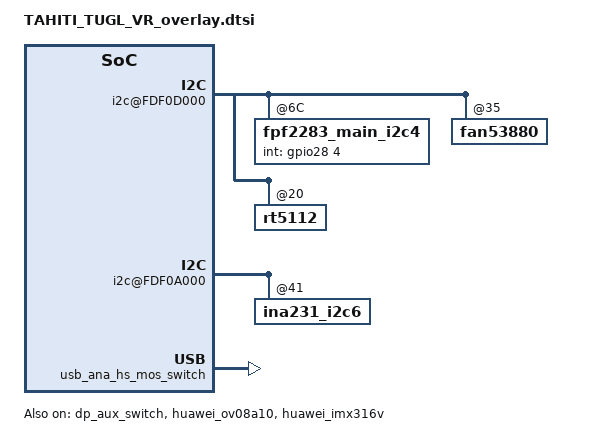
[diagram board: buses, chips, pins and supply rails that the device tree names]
/**
 * Copyright (C) 2014 Hisilicon Ltd.
 *
 *  This program is free software; you can redistribute it and/or modify
 *  it under the terms of the GNU General Public License version 2 as
 *  publishhed by the Free Software Foundation.
 */

/include/ "TAHITI_TUGL_VQ_overlay.dtsi"

/ {
    board_id = <8535>;
};
    &rootparam{
		compatible = "hisilicon,vendor";
		hisi,boardid = <8 5 3 5>;
		hisi,boardname = "TAHITI_TUGL_VR";
		hisi,modem_id = <0x37031800>;
		hisi,product_id = <0x37031800>;
		hisi,product_name = "TAH-AL00";
	};
	&amba {
		i2c@FDF0D000 {
			fpf2283_main_i2c4@6C {
				gpio_int = <&gpio28 4 0>;
			};
			fan53880@35 {
				hw,boost-pin = <224>;
			};
			rt5112@20 {
				hw,boost-pin = <224>;
			};
		};
		i2c@FDF0A000 {
			ina231_i2c6@41 {
				rshunt = <5>;
			};
		};
	};
        &gpio_pl061_ctrl_v2_1 {
                onewire-gpio = <&gpio1 1 0>;
                status = "ok";
        };
        &gpio_pl061_ctrl_v2_2 {
                onewire-gpio = <&gpio29 3 0>;
                status = "ok";
        };

	&usb_ana_hs_fsa4476 {
		status = "disabled";
	};

	&usb_ana_hs_mos_switch {
		compatible = "huawei,usb_ana_hs_mos_switch";
		gpio_type = <0>;
		switch_audio_auxpand = <&gpio4 0 0>;
		switch_mic_gnd = <&gpio17 1 0>;
		switch_auxpand = <&gpio26 0 0>;
		switch_fb = <&gpio1 3 0>;
		switch_usb_lr = <&gpio20 6 0>;
		mic_switch_delay = <150>;
		switch_lr_channel-supply = <&ldo14>;
		status = "ok";
	};

	&dp_aux_switch {
		compatible = "huawei,dp_aux_switch";
		aux_switch_from_fsa4476;
		aux_switch_with_uart;
		aux_uart-gpio = <&gpio5 2 0>;
		status = "ok";
	};

	&huawei_ov08a10 {
		dvdd-supply = <&ldo22>; /* ldo38 to ldo22 */
		iovdd-supply = <&ldo21>;
		huawei,ldo-names = "dvdd","iovdd";
		huawei,cam-power-seq-type = "sensor_pmic", "sensor_pmic", "sensor_pmic",
		"sensor_dvdd", "sensor_iovdd","sensor_rxdphy_clk", "sensor_mclk", "sensor_rst";
		huawei,cam-power-seq-cfg-val = <2850000 2800000 2750000 1200000 1800000 0 0 0>;
		huawei,cam-power-seq-val = <5 1 3 0xFF 0xFF 0xFF 0xFF 0xFF>;
		huawei,cam-power-seq-sensor-index = <0xFF 0xFF 0xFF 0xFF 0xFF 0xFF 2 0xFF>;
		huawei,cam-power-seq-delay = <0 0 0 0 0 1 1 1>;

		huawei,cam-power-down-seq-type ="sensor_rst", "sensor_mclk","sensor_rxdphy_clk",
		"sensor_iovdd", "sensor_dvdd", "sensor_pmic", "sensor_pmic",
		"sensor_pmic";
		huawei,cam-power-down-seq-cfg-val = <0 0 0 1800000 1200000 2750000 2800000 2850000>;
		huawei,cam-power-down-seq-val = <0xFF 0xFF 0xFF 0xFF 0xFF 3 1 5>;
		huawei,cam-power-down-seq-sensor-index = <0xFF 2 0xFF 0xFF 0xFF 0xFF 0xFF 0xFF>;
		huawei,cam-power-down-seq-delay = <1 1 1 0 0 0 0 0>;
		status = "ok";
	};
	&huawei_imx316v{
		gpios = <&gpio28 5 0 &gpio29 2 0 &gpio1 2 0>; /* gpio<29 3> to <28 5> */
		huawei,gpio-ctrl-types = "dvdd1-en", "vcm_pwdn", "reset";
		status = "ok";
	};
	&huawei_lcd_panel {
		lcd_aod = <2 0 0>;
	};
